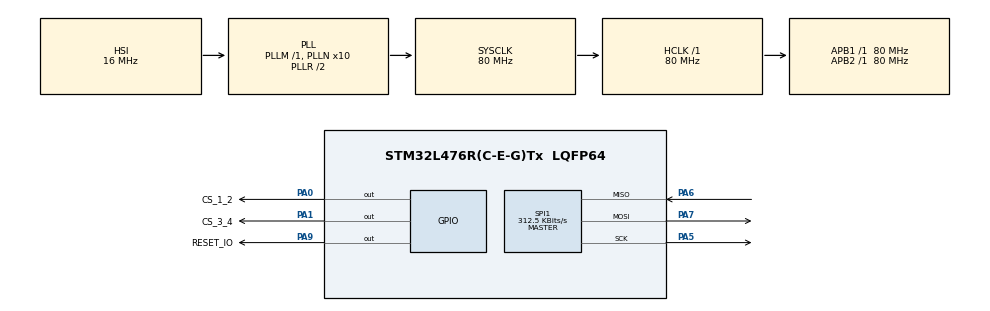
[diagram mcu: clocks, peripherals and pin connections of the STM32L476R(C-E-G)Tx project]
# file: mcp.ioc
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Mcu.Family=STM32L4
Mcu.Name=STM32L476R(C-E-G)Tx
Mcu.Package=LQFP64
NVIC.PriorityGroup=NVIC_PRIORITYGROUP_4
NVIC.SPI1_IRQn=true\:0\:0\:false\:false\:true\:true\:true\:true
PA0.GPIO_Label=CS_1_2
PA0.Signal=GPIO_Output
PA1.GPIO_Label=CS_3_4
PA1.Signal=GPIO_Output
PA13\ (JTMS-SWDIO).Mode=Serial_Wire
PA13\ (JTMS-SWDIO).Signal=SYS_JTMS-SWDIO
PA14\ (JTCK-SWCLK).Mode=Serial_Wire
PA14\ (JTCK-SWCLK).Signal=SYS_JTCK-SWCLK
PA5.Mode=Full_Duplex_Master
PA5.Signal=SPI1_SCK
PA6.Mode=Full_Duplex_Master
PA6.Signal=SPI1_MISO
PA7.Mode=Full_Duplex_Master
PA7.Signal=SPI1_MOSI
PA9.GPIO_Label=RESET_IO
PA9.Signal=GPIO_Output
ProjectManager.HeapSize=0x200
ProjectManager.StackSize=0x400
ProjectManager.TargetToolchain=STM32CubeIDE
RCC.ADCFreq_Value=64000000
RCC.AHBFreq_Value=80000000
RCC.APB1Freq_Value=80000000
RCC.APB1TimFreq_Value=80000000
RCC.APB2Freq_Value=80000000
RCC.APB2TimFreq_Value=80000000
RCC.CortexFreq_Value=80000000
RCC.HCLKFreq_Value=80000000
RCC.HSE_VALUE=8000000
RCC.HSI_VALUE=16000000
RCC.LSE_VALUE=32768
RCC.MSI_VALUE=4000000
RCC.PLLN=10
RCC.PLLSourceVirtual=RCC_PLLSOURCE_HSI
RCC.SYSCLKFreq_VALUE=80000000
RCC.SYSCLKSource=RCC_SYSCLKSOURCE_PLLCLK
RCC.USBFreq_Value=64000000
RCC.VCOOutputFreq_Value=160000000
SPI1.BaudRatePrescaler=SPI_BAUDRATEPRESCALER_256
SPI1.CalculateBaudRate=312.5 KBits/s
SPI1.DataSize=SPI_DATASIZE_8BIT
SPI1.Direction=SPI_DIRECTION_2LINES
SPI1.Mode=SPI_MODE_MASTER
SPI1.NSSPMode=SPI_NSS_PULSE_DISABLE
SPI1.VirtualType=VM_MASTER
board=custom

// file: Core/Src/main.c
/* USER CODE BEGIN Header */
/**
  ******************************************************************************
  * @file           : main.c
  * @brief          : Main program body
  ******************************************************************************
  * @attention
  *
  * Copyright (c) 2024 STMicroelectronics.
  * All rights reserved.
  *
  * This software is licensed under terms that can be found in the LICENSE file
  * in the root directory of this software component.
  * If no LICENSE file comes with this software, it is provided AS-IS.
  *
  ******************************************************************************
  */
/* USER CODE END Header */
#include "main.h"

/* USER CODE BEGIN Includes */
#include "Custom/util.h"
/* USER CODE END Includes */

SPI_HandleTypeDef hspi1;

/* USER CODE BEGIN PV */
const pin_t cs = { GPIOA, GPIO_PIN_0 }, rst = { GPIOA, GPIO_PIN_9 };

/* USER CODE END PV */

void SystemClock_Config(void);
static void MX_GPIO_Init(void);
static void MX_SPI1_Init(void);
/* USER CODE BEGIN PFP */
static void _write(uint8_t reg, uint8_t data) {
	reset_pin(&cs);

	uint8_t payload[] = { 0x40, reg, data };
	HAL_SPI_Transmit(&hspi1, payload, sizeof(payload), 100);
	HAL_Delay(1);

	set_pin(&cs);
	HAL_Delay(1);
}
/* USER CODE END PFP */

/* USER CODE BEGIN 0 */
void setup(void) {
	// toggle CS and RST pins
	set_pin(&cs);
	set_pin(&rst);
	HAL_Delay(1);
	reset_pin(&cs);
	reset_pin(&rst);
	HAL_Delay(5);
	set_pin(&cs);
	set_pin(&rst);
	HAL_Delay(5);

	_write(0x00, 0x00); // IODIRA = 0x00 (all output)
	_write(0x12, 0xFF); // GPIOA = 0xFF (all high)
}

void loop(void) {

}
/* USER CODE END 0 */

int main(void)
{

  /* MCU Configuration--------------------------------------------------------*/

  /* Reset of all peripherals, Initializes the Flash interface and the Systick. */
  HAL_Init();

  /* Configure the system clock */
  SystemClock_Config();

  /* Initialize all configured peripherals */
  MX_GPIO_Init();
  MX_SPI1_Init();
  /* USER CODE BEGIN 2 */
  setup();
  /* USER CODE END 2 */

  /* Infinite loop */
  /* USER CODE BEGIN WHILE */
  while (1)
  {
	loop();
    /* USER CODE END WHILE */

  }
}

void SystemClock_Config(void)
{
  RCC_OscInitTypeDef RCC_OscInitStruct = {0};
  RCC_ClkInitTypeDef RCC_ClkInitStruct = {0};

  /** Configure the main internal regulator output voltage
  */
  if (HAL_PWREx_ControlVoltageScaling(PWR_REGULATOR_VOLTAGE_SCALE1) != HAL_OK)
  {
    Error_Handler();
  }

  /** Initializes the RCC Oscillators according to the specified parameters
  * in the RCC_OscInitTypeDef structure.
  */
  RCC_OscInitStruct.OscillatorType = RCC_OSCILLATORTYPE_HSI;
  RCC_OscInitStruct.HSIState = RCC_HSI_ON;
  RCC_OscInitStruct.HSICalibrationValue = RCC_HSICALIBRATION_DEFAULT;
  RCC_OscInitStruct.PLL.PLLState = RCC_PLL_ON;
  RCC_OscInitStruct.PLL.PLLSource = RCC_PLLSOURCE_HSI;
  RCC_OscInitStruct.PLL.PLLM = 1;
  RCC_OscInitStruct.PLL.PLLN = 10;
  RCC_OscInitStruct.PLL.PLLP = RCC_PLLP_DIV7;
  RCC_OscInitStruct.PLL.PLLQ = RCC_PLLQ_DIV2;
  RCC_OscInitStruct.PLL.PLLR = RCC_PLLR_DIV2;
  if (HAL_RCC_OscConfig(&RCC_OscInitStruct) != HAL_OK)
  {
    Error_Handler();
  }

  /** Initializes the CPU, AHB and APB buses clocks
  */
  RCC_ClkInitStruct.ClockType = RCC_CLOCKTYPE_HCLK|RCC_CLOCKTYPE_SYSCLK
                              |RCC_CLOCKTYPE_PCLK1|RCC_CLOCKTYPE_PCLK2;
  RCC_ClkInitStruct.SYSCLKSource = RCC_SYSCLKSOURCE_PLLCLK;
  RCC_ClkInitStruct.AHBCLKDivider = RCC_SYSCLK_DIV1;
  RCC_ClkInitStruct.APB1CLKDivider = RCC_HCLK_DIV1;
  RCC_ClkInitStruct.APB2CLKDivider = RCC_HCLK_DIV1;

  if (HAL_RCC_ClockConfig(&RCC_ClkInitStruct, FLASH_LATENCY_4) != HAL_OK)
  {
    Error_Handler();
  }
}

static void MX_SPI1_Init(void)
{

  /* SPI1 parameter configuration*/
  hspi1.Instance = SPI1;
  hspi1.Init.Mode = SPI_MODE_MASTER;
  hspi1.Init.Direction = SPI_DIRECTION_2LINES;
  hspi1.Init.DataSize = SPI_DATASIZE_8BIT;
  hspi1.Init.CLKPolarity = SPI_POLARITY_LOW;
  hspi1.Init.CLKPhase = SPI_PHASE_1EDGE;
  hspi1.Init.NSS = SPI_NSS_SOFT;
  hspi1.Init.BaudRatePrescaler = SPI_BAUDRATEPRESCALER_256;
  hspi1.Init.FirstBit = SPI_FIRSTBIT_MSB;
  hspi1.Init.TIMode = SPI_TIMODE_DISABLE;
  hspi1.Init.CRCCalculation = SPI_CRCCALCULATION_DISABLE;
  hspi1.Init.CRCPolynomial = 7;
  hspi1.Init.CRCLength = SPI_CRC_LENGTH_DATASIZE;
  hspi1.Init.NSSPMode = SPI_NSS_PULSE_DISABLE;
  if (HAL_SPI_Init(&hspi1) != HAL_OK)
  {
    Error_Handler();
  }

}

static void MX_GPIO_Init(void)
{
  GPIO_InitTypeDef GPIO_InitStruct = {0};

  /* GPIO Ports Clock Enable */
  __HAL_RCC_GPIOA_CLK_ENABLE();

  /*Configure GPIO pin Output Level */
  HAL_GPIO_WritePin(GPIOA, CS_1_2_Pin|CS_3_4_Pin|RESET_IO_Pin, GPIO_PIN_RESET);

  /*Configure GPIO pins : CS_1_2_Pin CS_3_4_Pin RESET_IO_Pin */
  GPIO_InitStruct.Pin = CS_1_2_Pin|CS_3_4_Pin|RESET_IO_Pin;
  GPIO_InitStruct.Mode = GPIO_MODE_OUTPUT_PP;
  GPIO_InitStruct.Pull = GPIO_NOPULL;
  GPIO_InitStruct.Speed = GPIO_SPEED_FREQ_LOW;
  HAL_GPIO_Init(GPIOA, &GPIO_InitStruct);

}

void Error_Handler(void)
{
  __disable_irq();
  while (1)
  {
  }
}
